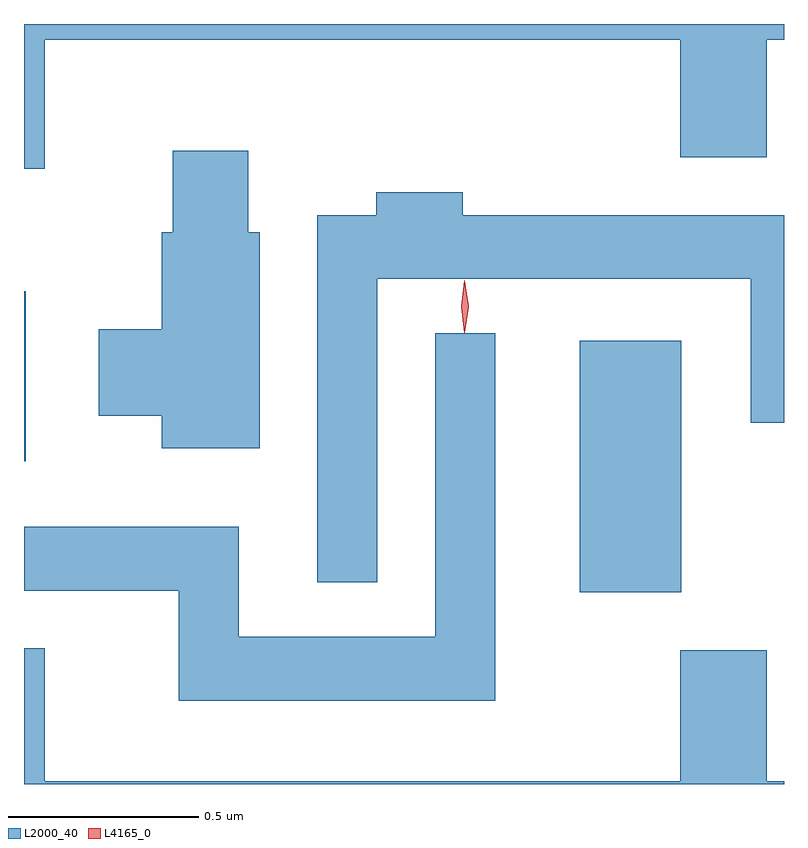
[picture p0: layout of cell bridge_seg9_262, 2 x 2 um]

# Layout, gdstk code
import gdstk
lib = gdstk.Library(unit=1e-6, precision=1e-09)
def R(c, l, rs):  # rectangles x0, y0, x1, y1
    for r in rs: c.add(gdstk.rectangle(r[:2], r[2:], *l))
def P(c, l, *ps):  # polygons
    for p in ps: c.add(gdstk.Polygon(p, *l))
L2000_40 = (2000, 40)
L4165_0 = (4165, 0)

bridge_seg9_262 = lib.new_cell('bridge_seg9_262')
R(bridge_seg9_262, L2000_40, [(1465.486,1990.361,1465.754,1991.024), (1464.024,1990.706,1464.029,1991.154)])
P(bridge_seg9_262, L2000_40, [(1464.079,1991.816),(1465.751,1991.816),(1465.751,1991.506),(1465.979,1991.506),(1465.979,1991.816),(1466.024,1991.816),(1466.024,1991.857),(1464.024,1991.857),(1464.024,1991.476),(1464.079,1991.476)],
  [(1464.644,1991.309),(1464.614,1991.309),(1464.614,1991.524),(1464.416,1991.524),(1464.416,1991.309),(1464.386,1991.309),(1464.386,1991.054),(1464.221,1991.054),(1464.221,1990.826),(1464.386,1990.826),(1464.386,1990.741),(1464.644,1990.741)],
  [(1464.954,1991.186),(1465.936,1991.186),(1465.936,1990.808),(1466.024,1990.808),(1466.024,1991.354),(1465.179,1991.354),(1465.179,1991.414),(1464.951,1991.414),(1464.951,1991.354),(1464.796,1991.354),(1464.796,1990.388),(1464.954,1990.388)],
  [(1465.264,1991.043),(1465.106,1991.043),(1465.106,1990.244),(1464.589,1990.244),(1464.589,1990.534),(1464.024,1990.534),(1464.024,1990.366),(1464.431,1990.366),(1464.431,1990.076),(1465.264,1990.076)],
  [(1466.024,1989.864),(1465.979,1989.864),(1465.979,1990.209),(1465.751,1990.209),(1465.751,1989.864),(1464.079,1989.864),(1464.079,1990.214),(1464.024,1990.214),(1464.024,1989.857),(1466.024,1989.857)])
P(bridge_seg9_262, L4165_0, [(1465.183,1991.044),(1465.174,1991.113),(1465.183,1991.182),(1465.184,1991.183),(1465.184,1991.182),(1465.194,1991.113),(1465.184,1991.044),(1465.184,1991.044)],
  [(1465.184,1991.047),(1465.183,1991.048),(1465.174,1991.114),(1465.183,1991.18),(1465.183,1991.18),(1465.184,1991.18),(1465.194,1991.114),(1465.184,1991.048)])

lib.write_gds('bridge_seg9_262.gds')
